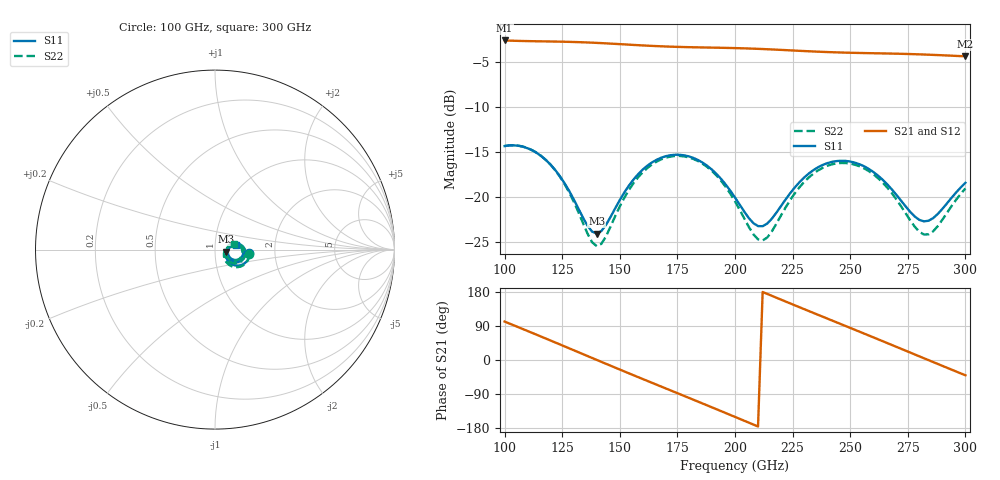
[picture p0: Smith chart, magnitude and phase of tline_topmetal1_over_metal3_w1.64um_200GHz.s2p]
#  GHZ S DB R 50
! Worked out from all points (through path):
!   101 points, 100 GHz to 300 GHz, reference 50 ohm
!   highest |S21| = -2.57 dB at 100 GHz (marker M1); lowest = -4.3 dB at 300 GHz (marker M2)
!   group delay of S21, straight-line fit = 6.97 ps
!   lowest |S11| = -24.1 dB at 140 GHz (marker M3), VSWR 1.13, Z = 56.5 - j1.35 ohm
!   |S11| at or under -10 dB: start of sweep to end of sweep
!   |S22| runs from -25.5 to -14.2 dB; largest |S21 - S12| = 8.1e-14
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100  -14.34 -5.0  -2.57 101.4  -2.57 101.4  -14.34 -6.7
108  -14.42 -18.5  -2.64 81.5  -2.64 81.5  -14.40 -20.9
116  -15.48 -31.1  -2.67 61.4  -2.67 61.4  -15.47 -34.5
126  -18.47 -41.5  -2.72 36.0  -2.72 36.0  -18.57 -46.9
134  -22.31 -35.1  -2.78 15.5  -2.78 15.5  -22.91 -42.8
140  -24.09 -11.0  -2.85 0.2  -2.85 0.2  -25.50 -15.5
152  -19.50 17.3  -3.01 -30.2  -3.01 -30.2  -20.08 18.9
168  -15.64 1.3  -3.23 -70.2  -3.23 -70.2  -15.82 0.8
176  -15.32 -10.7  -3.30 -90.0  -3.30 -90.0  -15.44 -12.2
184  -15.90 -22.3  -3.34 -109.9  -3.34 -109.9  -16.02 -25.0
200  -20.07 -34.1  -3.43 -150.2  -3.43 -150.2  -20.51 -40.3
208  -22.94 -20.1  -3.49 -170.4  -3.49 -170.4  -24.19 -26.4
212  -23.28 -6.1  -3.53 179.5  -3.53 179.5  -24.86 -8.9
222  -20.28 14.5  -3.65 154.3  -3.65 154.3  -21.17 17.1
234  -17.03 8.5  -3.80 124.3  -3.80 124.3  -17.42 9.8
242  -16.11 -1.4  -3.88 104.5  -3.88 104.5  -16.39 -1.2
250  -16.07 -12.2  -3.95 84.7  -3.95 84.7  -16.30 -13.1
258  -16.88 -22.1  -3.99 64.9  -3.99 64.9  -17.12 -24.3
268  -19.15 -29.1  -4.04 39.9  -4.04 39.9  -19.57 -33.3
278  -22.19 -19.4  -4.11 14.7  -4.11 14.7  -23.32 -24.3
284  -22.66 -3.1  -4.16 -0.4  -4.16 -0.4  -24.18 -4.0
300  -18.44 12.7  -4.34 -40.4  -4.34 -40.4  -19.07 15.8
